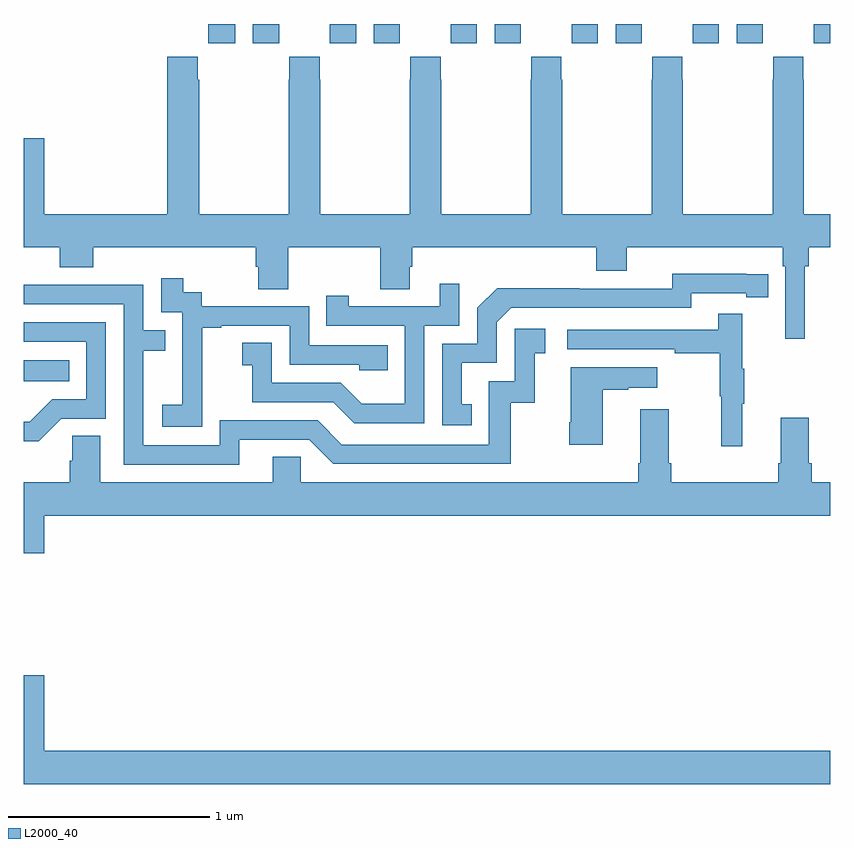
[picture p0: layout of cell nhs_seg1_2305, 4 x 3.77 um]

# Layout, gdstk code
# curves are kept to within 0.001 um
import gdstk
lib = gdstk.Library(unit=1e-6, precision=1e-09)
def R(c, l, rs):  # rectangles x0, y0, x1, y1
    for r in rs: c.add(gdstk.rectangle(r[:2], r[2:], *l))
def P(c, l, *ps):  # polygons
    for p in ps: c.add(gdstk.Polygon(p, *l))
L2000_40 = (2000, 40)

nhs_seg1_2305 = lib.new_cell('nhs_seg1_2305')
R(nhs_seg1_2305, L2000_40, [(237,524.426,237.224,524.53), (237.914,526.104,238.048,526.199), (238.136,526.104,238.266,526.199), (238.518,526.104,238.648,526.199), (238.736,526.104,238.866,526.199), (239.118,526.104,239.248,526.199), (239.336,526.104,239.466,526.199), (239.718,526.104,239.848,526.199), (239.936,526.104,240.066,526.199), (240.318,526.104,240.448,526.199), (240.536,526.104,240.666,526.199), (240.918,526.104,241,526.199)])
P(nhs_seg1_2305, L2000_40, [(237.87,525.923),(237.863,525.923),(237.863,526.036),(237.71,526.036),(237.71,525.256),(237.1,525.256),(237.1,525.631),(237,525.631),(237,525.092),(237.179,525.092),(237.179,524.993),(237.344,524.993),(237.344,525.092),(238.151,525.092),(238.151,524.994),(238.163,524.994),(238.163,524.884),(238.311,524.884),(238.311,525.092),(238.768,525.092),(238.768,524.884),(238.915,524.884),(238.915,524.994),(238.928,524.994),(238.928,525.092),(239.84,525.092),(239.84,524.975),(239.992,524.975),(239.992,525.092),(240.764,525.092),(240.764,524.996),(240.777,524.996),(240.777,524.637),(240.874,524.637),(240.874,524.996),(240.893,524.996),(240.893,525.092),(241,525.092),(241,525.256),(240.87,525.256),(240.87,525.923),(240.867,525.923),(240.867,526.036),(240.717,526.036),(240.717,525.923),(240.715,525.923),(240.715,525.256),(240.27,525.256),(240.27,525.923),(240.267,525.923),(240.267,526.036),(240.117,526.036),(240.117,525.923),(240.115,525.923),(240.115,525.256),(239.67,525.256),(239.67,525.923),(239.667,525.923),(239.667,526.036),(239.517,526.036),(239.517,525.923),(239.515,525.923),(239.515,525.256),(239.07,525.256),(239.07,525.923),(239.067,525.923),(239.067,526.036),(238.917,526.036),(238.917,525.923),(238.915,525.923),(238.915,525.256),(238.47,525.256),(238.47,525.923),(238.467,525.923),(238.467,526.036),(238.317,526.036),(238.317,525.923),(238.315,525.923),(238.315,525.256),(237.87,525.256)],
  [(239.222,524.313),(239.173,524.313),(239.173,524.517),(239.346,524.517),(239.346,524.718),(239.418,524.79),(240.312,524.79),(240.312,524.862),(240.584,524.862),(240.584,524.842),(240.692,524.842),(240.692,524.958),(240.216,524.959),(240.216,524.886),(239.756,524.886),(239.756,524.888),(239.348,524.888),(239.25,524.79),(239.25,524.613),(239.076,524.613),(239.076,524.208),(239.222,524.208)],
  [(237.885,524.407),(237.884,524.407),(237.884,524.691),(237.979,524.691),(237.979,524.703),(238.32,524.703),(238.32,524.508),(238.665,524.508),(238.665,524.481),(238.805,524.481),(238.805,524.604),(238.416,524.604),(238.416,524.799),(237.882,524.799),(237.882,524.868),(237.79,524.868),(237.79,524.938),(237.681,524.938),(237.681,524.769),(237.786,524.769),(237.786,524.54),(237.785,524.54),(237.785,524.311),(237.687,524.311),(237.687,524.201),(237.885,524.201)],
  [(238.986,524.703),(239.16,524.703),(239.16,524.911),(239.063,524.911),(239.063,524.799),(238.612,524.799),(238.612,524.851),(238.501,524.851),(238.501,524.703),(238.89,524.703),(238.89,524.314),(238.676,524.314),(238.572,524.418),(238.23,524.418),(238.23,524.617),(238.083,524.617),(238.083,524.507),(238.132,524.507),(238.132,524.322),(238.535,524.322),(238.64,524.217),(238.986,524.217)],
  [(238.069,524.136),(238.416,524.136),(238.536,524.016),(239.416,524.016),(239.416,524.319),(239.534,524.319),(239.534,524.565),(239.587,524.565),(239.587,524.686),(239.436,524.686),(239.436,524.427),(239.307,524.427),(239.307,524.112),(238.578,524.112),(238.458,524.232),(237.972,524.232),(237.972,524.109),(237.591,524.109),(237.591,524.578),(237.701,524.578),(237.701,524.679),(237.591,524.679),(237.591,524.904),(237.095,524.904),(237.095,524.906),(237,524.906),(237,524.808),(237.495,524.808),(237.495,524.013),(238.069,524.013)],
  [(240.563,524.315),(240.574,524.315),(240.574,524.489),(240.563,524.489),(240.563,524.761),(240.445,524.761),(240.445,524.682),(239.697,524.682),(239.697,524.586),(240.229,524.586),(240.229,524.566),(240.453,524.566),(240.453,524.352),(240.46,524.352),(240.46,524.103),(240.563,524.103)],
  [(237.186,524.241),(237.405,524.241),(237.405,524.718),(237,524.718),(237,524.622),(237.309,524.622),(237.309,524.337),(237.14,524.337),(237.029,524.226),(237,524.226),(237,524.129),(237.073,524.129)],
  [(239.872,524.383),(239.999,524.383),(239.999,524.393),(240.142,524.393),(240.142,524.497),(239.714,524.497),(239.714,524.224),(239.707,524.224),(239.707,524.112),(239.872,524.112)],
  [(237.1,523.76),(241,523.76),(241,523.924),(240.908,523.924),(240.908,524.02),(240.895,524.02),(240.895,524.245),(240.755,524.245),(240.755,524.02),(240.743,524.02),(240.743,523.924),(240.212,523.924),(240.212,524.02),(240.199,524.02),(240.199,524.287),(240.059,524.287),(240.059,524.02),(240.047,524.02),(240.047,523.924),(238.374,523.924),(238.374,524.051),(238.235,524.051),(238.235,523.924),(237.379,523.924),(237.379,524.156),(237.24,524.156),(237.24,524.033),(237.227,524.033),(237.227,523.924),(237,523.924),(237,523.572),(237.1,523.572)],
  [(241,522.592),(237.1,522.592),(237.1,522.967),(237,522.967),(237,522.428),(241,522.428)])

lib.write_gds('nhs_seg1_2305.gds')
